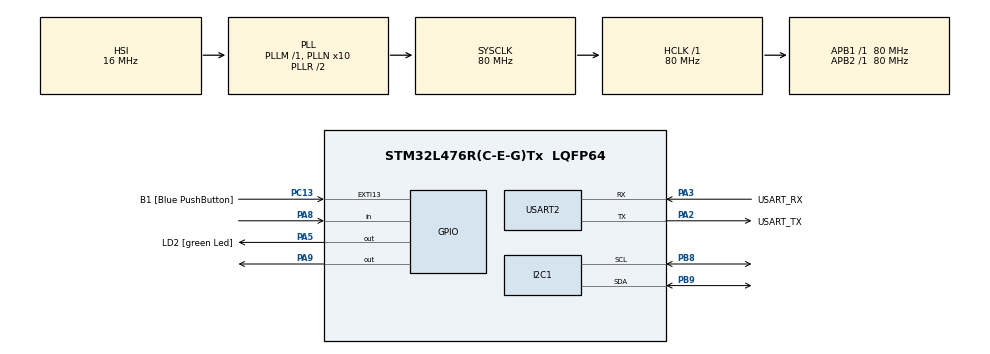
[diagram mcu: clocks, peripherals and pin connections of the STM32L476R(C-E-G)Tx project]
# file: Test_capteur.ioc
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I2C1.Timing=0x10909CEC
Mcu.Family=STM32L4
Mcu.Name=STM32L476R(C-E-G)Tx
Mcu.Package=LQFP64
NVIC.PriorityGroup=NVIC_PRIORITYGROUP_4
NVIC.TIM1_CC_IRQn=true\:0\:0\:false\:false\:true\:true\:true\:true
PA13\ (JTMS-SWDIO).GPIO_Label=TMS
PA13\ (JTMS-SWDIO).Mode=Serial_Wire
PA13\ (JTMS-SWDIO).Signal=SYS_JTMS-SWDIO
PA14\ (JTCK-SWCLK).GPIO_Label=TCK
PA14\ (JTCK-SWCLK).Mode=Serial_Wire
PA14\ (JTCK-SWCLK).Signal=SYS_JTCK-SWCLK
PA2.GPIO_Label=USART_TX
PA2.GPIO_Mode=GPIO_MODE_AF_PP
PA2.GPIO_PuPd=GPIO_NOPULL
PA2.GPIO_Speed=GPIO_SPEED_FREQ_VERY_HIGH
PA2.Mode=Asynchronous
PA2.Signal=USART2_TX
PA3.GPIO_Label=USART_RX
PA3.GPIO_Mode=GPIO_MODE_AF_PP
PA3.GPIO_PuPd=GPIO_NOPULL
PA3.GPIO_Speed=GPIO_SPEED_FREQ_VERY_HIGH
PA3.Mode=Asynchronous
PA3.Signal=USART2_RX
PA5.GPIO_Label=LD2 [green Led]
PA5.GPIO_ModeDefaultOutputPP=GPIO_MODE_OUTPUT_PP
PA5.GPIO_PuPd=GPIO_NOPULL
PA5.GPIO_Speed=GPIO_SPEED_FREQ_LOW
PA5.Signal=GPIO_Output
PA8.Signal=GPIO_Input
PA9.Signal=GPIO_Output
PB3\ (JTDO-TRACESWO).GPIO_Label=SWO
PB3\ (JTDO-TRACESWO).Signal=SYS_JTDO-SWO
PB8.Mode=I2C
PB8.Signal=I2C1_SCL
PB9.Mode=I2C
PB9.Signal=I2C1_SDA
PC13.GPIO_Label=B1 [Blue PushButton]
PC13.GPIO_ModeDefaultEXTI=GPIO_MODE_IT_FALLING
PC13.GPIO_PuPd=GPIO_NOPULL
PC13.Signal=GPXTI13
PC14-OSC32_IN\ (PC14).Signal=RCC_OSC32_IN
PC15-OSC32_OUT\ (PC15).Signal=RCC_OSC32_OUT
PH0-OSC_IN\ (PH0).Mode=HSE-External-Oscillator
PH0-OSC_IN\ (PH0).Signal=RCC_OSC_IN
PH1-OSC_OUT\ (PH1).Mode=HSE-External-Oscillator
PH1-OSC_OUT\ (PH1).Signal=RCC_OSC_OUT
ProjectManager.HeapSize=0x200
ProjectManager.StackSize=0x400
ProjectManager.TargetToolchain=STM32CubeIDE
RCC.ADCFreq_Value=64000000
RCC.AHBFreq_Value=80000000
RCC.APB1Freq_Value=80000000
RCC.APB1TimFreq_Value=80000000
RCC.APB2Freq_Value=80000000
RCC.APB2TimFreq_Value=80000000
RCC.CortexFreq_Value=80000000
RCC.HCLKFreq_Value=80000000
RCC.HSE_VALUE=8000000
RCC.HSI_VALUE=16000000
RCC.LSE_VALUE=32768
RCC.MSI_VALUE=4000000
RCC.PLLN=10
RCC.PLLSourceVirtual=RCC_PLLSOURCE_HSI
RCC.PREFETCH_ENABLE=1
RCC.SYSCLKFreq_VALUE=80000000
RCC.SYSCLKSource=RCC_SYSCLKSOURCE_PLLCLK
RCC.USBFreq_Value=64000000
RCC.VCOOutputFreq_Value=160000000
TIM1.Prescaler=79
USART2.VirtualMode-Asynchronous=VM_ASYNC
VP_TIM1_VS_ClockSourceINT.Mode=Internal
board=NUCLEO-L476RG

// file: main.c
/* USER CODE BEGIN Header */
/**
  ******************************************************************************
  * @file           : main.c
  * @brief          : Main program body
  ******************************************************************************
  * @attention
  *
  * Copyright (c) 2023 STMicroelectronics.
  * All rights reserved.
  *
  * This software is licensed under terms that can be found in the LICENSE file
  * in the root directory of this software component.
  * If no LICENSE file comes with this software, it is provided AS-IS.
  *
  ******************************************************************************
  */
/* USER CODE END Header */
#include "main.h"
#include "i2c.h"
#include "tim.h"
#include "usart.h"
#include "gpio.h"

/* USER CODE BEGIN Includes */
#include "lib_lcd.h"
#include <stdio.h>
#include <string.h>
rgb_lcd data;
/* USER CODE END Includes */

/* USER CODE BEGIN PV */
//TIM_HandleTypeDef htim1;
#define TRIG_PIN GPIO_PIN_9
#define TRIG_PORT GPIOA
#define ECHO_PIN GPIO_PIN_8
#define ECHO_PORT GPIOA
uint32_t pMillis;
uint32_t Value1 = 0;
uint32_t Value2 = 0;
uint16_t Distance  = 0;  // cm
/* USER CODE END PV */

void SystemClock_Config(void);

/* USER CODE BEGIN 0 */
/*void HCSR04_Read (void)
{
	HAL_GPIO_WritePin(TRIG_PORT, TRIG_PIN, GPIO_PIN_SET);  // pull the TRIG pin HIGH
	delay(10);  // wait for 10 us
	HAL_GPIO_WritePin(TRIG_PORT, TRIG_PIN, GPIO_PIN_RESET);  // pull the TRIG pin low

	__HAL_TIM_ENABLE_IT(&htim1, TIM_IT_CC1);
}
*/
/* USER CODE END 0 */

int main(void)
{
  /* USER CODE BEGIN 1 */
char message[]={"Distance : "}; // Pour l'affichage LCD
char mes[3]; // récupère la distance pour la transforer en char
int dist = 0;
  /* USER CODE END 1 */

  /* MCU Configuration--------------------------------------------------------*/

  /* Reset of all peripherals, Initializes the Flash interface and the Systick. */
  HAL_Init();

  /* Configure the system clock */
  SystemClock_Config();

  /* Initialize all configured peripherals */
  MX_GPIO_Init();
  MX_USART2_UART_Init();
  MX_I2C1_Init();
  MX_TIM1_Init();
  /* USER CODE BEGIN 2 */
  HAL_TIM_Base_Start(&htim1);
  HAL_GPIO_WritePin(TRIG_PORT, TRIG_PIN, GPIO_PIN_RESET);  // pull the TRIG pin low
  /* USER CODE END 2 */

  /* Infinite loop */
  /* USER CODE BEGIN WHILE */
  lcd_init(&hi2c1,&data);
  lcd_position(&hi2c1,0,0);
  lcd_print(&hi2c1,"Distance =");
  while (1)
  {
	    HAL_GPIO_WritePin(TRIG_PORT, TRIG_PIN, GPIO_PIN_SET);  // pull the TRIG pin HIGH
	    __HAL_TIM_SET_COUNTER(&htim1, 0);
	    while (__HAL_TIM_GET_COUNTER (&htim1) < 10);  // wait for 10 us
	    HAL_GPIO_WritePin(TRIG_PORT, TRIG_PIN, GPIO_PIN_RESET);  // pull the TRIG pin low

	    pMillis = HAL_GetTick(); // used this to avoid infinite while loop  (for timeout)
	    // wait for the echo pin to go high
	    while (!(HAL_GPIO_ReadPin (ECHO_PORT, ECHO_PIN)) && pMillis + 10 >  HAL_GetTick());
	   // while (!(HAL_GPIO_ReadPin (ECHO_PORT, ECHO_PIN)) ==  HAL_OK);
	    Value1 = __HAL_TIM_GET_COUNTER (&htim1);

	    pMillis = HAL_GetTick(); // used this to avoid infinite while loop (for timeout)
	    // wait for the echo pin to go low
	    while ((HAL_GPIO_ReadPin (ECHO_PORT, ECHO_PIN)) && pMillis + 50 > HAL_GetTick());
	    //while ((HAL_GPIO_ReadPin (ECHO_PORT, ECHO_PIN)) !=  HAL_OK);
	    Value2 = __HAL_TIM_GET_COUNTER (&htim1);

	    Distance = (Value2-Value1)* 0.034/2;
	    dist = Distance;

	    sprintf(mes,"%d", dist);

	    HAL_Delay(50);

	    lcd_init(&hi2c1,&data);
	    lcd_position(&hi2c1,0,0);
	    lcd_print(&hi2c1,message);

	    lcd_position(&hi2c1,12,0);
	    lcd_print(&hi2c1,mes);
	    HAL_Delay(100);

    /* USER CODE END WHILE */

  }
}

void SystemClock_Config(void)
{
  RCC_OscInitTypeDef RCC_OscInitStruct = {0};
  RCC_ClkInitTypeDef RCC_ClkInitStruct = {0};

  /** Configure the main internal regulator output voltage
  */
  if (HAL_PWREx_ControlVoltageScaling(PWR_REGULATOR_VOLTAGE_SCALE1) != HAL_OK)
  {
    Error_Handler();
  }

  /** Initializes the RCC Oscillators according to the specified parameters
  * in the RCC_OscInitTypeDef structure.
  */
  RCC_OscInitStruct.OscillatorType = RCC_OSCILLATORTYPE_HSI;
  RCC_OscInitStruct.HSIState = RCC_HSI_ON;
  RCC_OscInitStruct.HSICalibrationValue = RCC_HSICALIBRATION_DEFAULT;
  RCC_OscInitStruct.PLL.PLLState = RCC_PLL_ON;
  RCC_OscInitStruct.PLL.PLLSource = RCC_PLLSOURCE_HSI;
  RCC_OscInitStruct.PLL.PLLM = 1;
  RCC_OscInitStruct.PLL.PLLN = 10;
  RCC_OscInitStruct.PLL.PLLP = RCC_PLLP_DIV7;
  RCC_OscInitStruct.PLL.PLLQ = RCC_PLLQ_DIV2;
  RCC_OscInitStruct.PLL.PLLR = RCC_PLLR_DIV2;
  if (HAL_RCC_OscConfig(&RCC_OscInitStruct) != HAL_OK)
  {
    Error_Handler();
  }

  /** Initializes the CPU, AHB and APB buses clocks
  */
  RCC_ClkInitStruct.ClockType = RCC_CLOCKTYPE_HCLK|RCC_CLOCKTYPE_SYSCLK
                              |RCC_CLOCKTYPE_PCLK1|RCC_CLOCKTYPE_PCLK2;
  RCC_ClkInitStruct.SYSCLKSource = RCC_SYSCLKSOURCE_PLLCLK;
  RCC_ClkInitStruct.AHBCLKDivider = RCC_SYSCLK_DIV1;
  RCC_ClkInitStruct.APB1CLKDivider = RCC_HCLK_DIV1;
  RCC_ClkInitStruct.APB2CLKDivider = RCC_HCLK_DIV1;

  if (HAL_RCC_ClockConfig(&RCC_ClkInitStruct, FLASH_LATENCY_4) != HAL_OK)
  {
    Error_Handler();
  }
}

/* USER CODE BEGIN 4 */
void HAL_TIM_PeriodElapsedCallback(TIM_HandleTypeDef* htim)
{
    HAL_GPIO_TogglePin(GPIOA, GPIO_PIN_9);
}

void TIM1_IRQHandler(void)
{
  HAL_TIM_IRQHandler(&htim1);
}

/* USER CODE END 4 */

void Error_Handler(void)
{
  __disable_irq();
  while (1)
  {
  }
}
